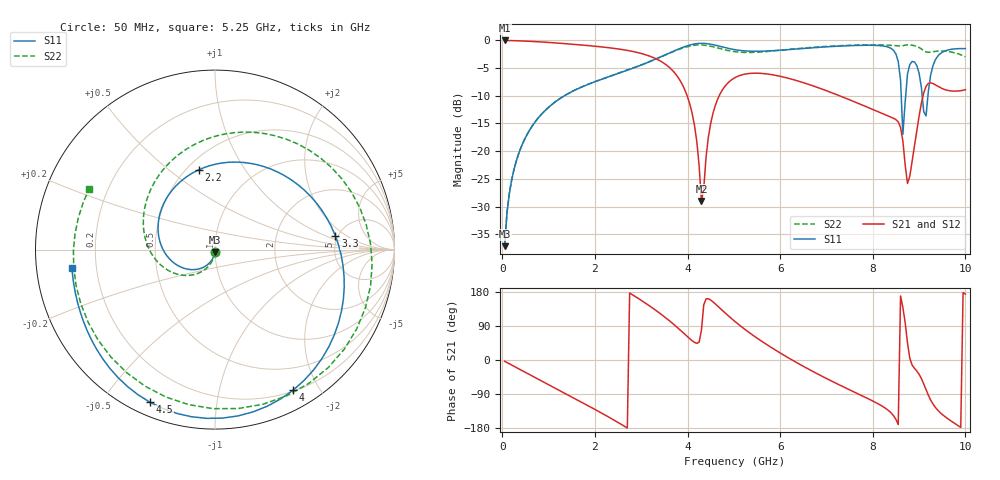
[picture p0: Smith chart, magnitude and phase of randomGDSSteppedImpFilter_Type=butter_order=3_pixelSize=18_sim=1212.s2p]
! freq	dB(S11)	phase(S11)	dB(S12)	phase(S12)
!  dB(S21)	phase(S21)	dB(S22)	phase(S22)
!S-par simulation data
#  GHz  S  DB  R 50
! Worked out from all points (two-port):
!   200 points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, 50 MHz to 10 GHz, reference 50 ohm
!   highest |S21| = -0.01 dB at 50 MHz (marker M1); lowest = -29.0 dB at 4.3 GHz (marker M2)
!   |S21| within 3 dB of the highest: start of sweep to 3.235 GHz
!   lowest |S11| = -37.2 dB at 50 MHz (marker M3), VSWR 1.03, Z = 49.9 - j1.38 ohm
!   |S11| at or under -10 dB: start of sweep to 1.342 GHz; 8.614 GHz to 8.711 GHz (96.26 MHz wide, 1.11 % of centre); 9.067 GHz to 9.191 GHz (123.9 MHz wide, 1.36 % of centre)
!   |S22| runs from -37.2 to -0.8 dB; largest |S21 - S12| = 0
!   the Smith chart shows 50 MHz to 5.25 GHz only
!   S11 on the Smith chart (normalised r, x): 50 MHz: 1.00, -0.03; 2.2 GHz: 0.57, +0.64; 3.3 GHz: 4.75, +1.35; 4 GHz: 0.21, -1.68; 4.5 GHz: 0.06, -0.66; 5.25 GHz: 0.11, -0.06
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0.05  -37.15 -92.8  -0.01 -3.3  -0.01 -3.3  -37.15 -92.0
0.5  -17.56 -127.6  -0.12 -32.7  -0.12 -32.7  -17.54 -118.8
1.75  -8.29 137.6  -0.86 -113.8  -0.86 -113.8  -8.27 173.4
2.2  -6.86 101.4  -1.22 -143.9  -1.22 -143.9  -6.83 149.3
3.3  -3.42 6.6  -3.24 132.4  -3.24 132.4  -3.41 75.9
3.4  -3.05 -2.5  -3.66 123.5  -3.66 123.5  -3.06 66.9
4  -0.96 -60.9  -10.20 61.5  -10.20 61.5  -1.12 -5.3
4.3  -0.53 -92.7  -28.98 78.1  -28.98 78.1  -0.81 -54.9
4.5  -0.68 -113.1  -14.98 158.2  -14.98 158.2  -1.05 -90.7
5.05  -1.71 -158.7  -6.61 99.0  -6.61 99.0  -2.06 -179.7
5.25  -1.90 -172.8  -6.07 79.7  -6.07 79.7  -2.17 154.4
5.9  -1.83 141.6  -6.31 26.0  -6.31 26.0  -1.86 89.7
6.7  -1.33 84.1  -8.18 -29.8  -8.18 -29.8  -1.25 33.9
7.65  -0.91 18.2  -11.24 -87.5  -11.24 -87.5  -0.85 -17.0
8.35  -1.25 -38.8  -13.71 -134.4  -13.71 -134.4  -0.86 -49.8
8.55  -3.83 -76.3  -14.72 -170.5  -14.72 -170.5  -1.00 -58.7
8.65  -16.97 -82.1  -18.16 138.8  -18.16 138.8  -0.96 -62.4
8.75  -6.07 -14.5  -25.83 44.9  -25.83 44.9  -0.80 -67.9
8.95  -4.52 -73.1  -16.32 -29.0  -16.32 -29.0  -1.09 -80.3
9.1  -12.87 -162.1  -9.49 -63.1  -9.49 -63.1  -1.85 -87.8
9.25  -6.25 42.5  -7.65 -105.6  -7.65 -105.6  -2.12 -90.8
10  -1.49 -49.4  -8.91 173.8  -8.91 173.8  -2.97 -146.4
